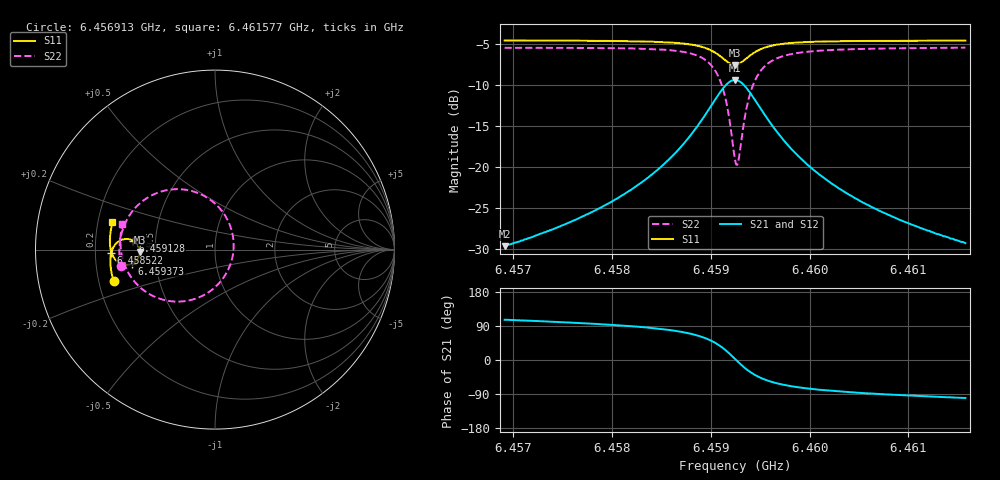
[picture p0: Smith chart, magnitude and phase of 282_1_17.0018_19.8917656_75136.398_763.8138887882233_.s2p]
#  HZ  S  RI  R  50.00
! Rohde & Schwarz Vector Network Analyzer
! Rohde-Schwarz,ZNB20-2Port,1311601062101988,3.16
! Created: UTC 3/20/2024, 11:04:44 PM
! freq[Hz]  re:S11  im:S11  re:S21  im:S21  re:S12  im:S12  re:S22  im:S22
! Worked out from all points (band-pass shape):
!   401 points, 6.456913 GHz to 6.461577 GHz, reference 50 ohm
!   highest |S21| = -9.36 dB at 6.459245 GHz (marker M1); lowest = -29.6 dB at 6.456913 GHz (marker M2)
!   |S21| within 3 dB of the highest: 6.459011 GHz to 6.459478 GHz (466.2 kHz wide, 0.00722 % of centre)
!   lowest |S11| = -7.5 dB at 6.459245 GHz (marker M3), VSWR 2.45, Z = 20.4 - j0.638 ohm
!   |S11| at or under -10 dB: nowhere
!   |S22| runs from -19.7 to -5.4 dB; largest |S21 - S12| = 0.013
!   S11 on the Smith chart (normalised r, x): 6.456913 GHz: 0.26, -0.14; 6.458522 GHz: 0.27, -0.02; 6.459128 GHz: 0.37, +0.05; 6.459373 GHz: 0.37, -0.07; 6.461577 GHz: 0.26, +0.12
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6.4569125e9  -0.5649 -0.1777  -0.00925 0.0318  -0.00755 0.0318  -0.526 -0.0924
6.4576939e9  -0.5796 -0.1097  -0.00619 0.0496  -0.00381 0.049  -0.5331 -0.00266
6.458137e9  -0.5831 -0.0655  -0.000332 0.0695  0.00288 0.0683  -0.526 0.0666
6.4584752e9  -0.5797 -0.0252  0.0128 0.0975  0.0166 0.0947  -0.5026 0.1419
6.4585218e9  -0.5783 -0.0189  0.0159 0.1029  0.0201 0.1  -0.4966 0.155
6.4587434e9  -0.5652 0.0149  0.0438 0.1365  0.0479 0.1318  -0.4455 0.2312
6.458895e9  -0.543 0.0414  0.0882 0.1671  0.0914 0.1605  -0.3644 0.2963
6.4590349e9  -0.4996 0.0591  0.174 0.1843  0.1751 0.1769  -0.2083 0.3368
6.4591282e9  -0.4555 0.0492  0.263 0.1541  0.2632 0.1483  -0.0441 0.2896
6.4591748e9  -0.4345 0.0306  0.3064 0.1122  0.3075 0.1069  0.0381 0.2155
6.4592448e9  -0.4199 -0.0129  0.3399 0.0169  0.343 0.01  0.1038 0.0401
6.4592681e9  -0.4215 -0.0287  0.3379 -0.0179  0.3414 -0.0261  0.1004 -0.0253
6.4592798e9  -0.4237 -0.0362  0.3344 -0.0348  0.338 -0.0436  0.0936 -0.0573
6.4593731e9  -0.4608 -0.0779  0.2656 -0.1345  0.2648 -0.1473  -0.0435 -0.2426
6.4594197e9  -0.4835 -0.0847  0.2221 -0.157  0.2184 -0.1694  -0.1301 -0.2797
6.459478e9  -0.5082 -0.0837  0.1737 -0.1667  0.1674 -0.1773  -0.225 -0.2894
6.4596296e9  -0.5491 -0.0622  0.0917 -0.1511  0.0835 -0.1568  -0.3802 -0.2387
6.4597929e9  -0.5694 -0.0347  0.0497 -0.1244  0.0425 -0.1269  -0.4554 -0.1698
6.4600261e9  -0.581 -0.00108  0.0228 -0.0953  0.0172 -0.096  -0.5002 -0.094
6.4603643e9  -0.5856 0.0389  0.00728 -0.0697  0.00311 -0.0695  -0.5219 -0.0183
6.4608074e9  -0.5838 0.0833  -0.000975 -0.0512  -0.00379 -0.0502  -0.5272 0.0514
6.461577e9  -0.5714 0.1511  -0.00611 -0.0339  -0.00786 -0.0332  -0.5166 0.141
